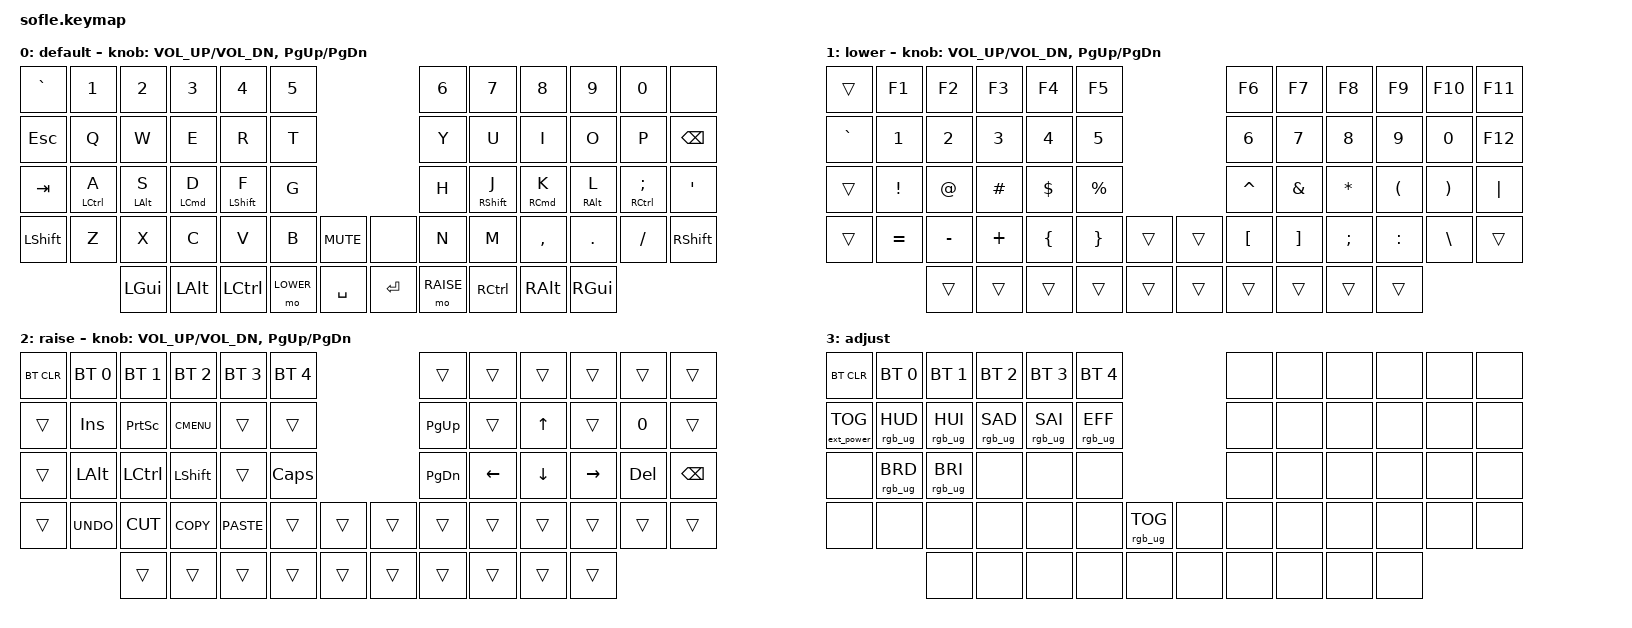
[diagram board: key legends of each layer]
/*
 * Copyright (c) 2020 The ZMK Contributors
 *
 * SPDX-License-Identifier: MIT
 */

#include <behaviors.dtsi>
#include <dt-bindings/zmk/bt.h>
#include <dt-bindings/zmk/ext_power.h>
#include <dt-bindings/zmk/keys.h>
#include <dt-bindings/zmk/rgb.h>

#define BASE 0
#define LOWER 1
#define RAISE 2
#define ADJUST 3

/ {
    // Activate ADJUST layer by pressing raise and lower

    conditional_layers {
        compatible = "zmk,conditional-layers";

        adjust_layer {
            if-layers = <LOWER RAISE>;
            then-layer = <ADJUST>;
        };
    };

    behaviors {
        HM: HM {
            compatible = "zmk,behavior-hold-tap";
            label = "HM";
            bindings = <&kp>, <&kp>;

            #binding-cells = <2>;
            tapping-term-ms = <200>;
            quick-tap-ms = <175>;
            flavor = "tap-preferred";
            hold-trigger-key-positions = <0 1 2 3 4 5 14 15 16 17 12 13 24 25 26 27 28 29 36 37 38 39 40 41 42 50 51 52 53 54>;
        };

        HMShiftR: HMShiftR {
            compatible = "zmk,behavior-hold-tap";
            label = "HMSHIFTR";
            bindings = <&kp>, <&kp>;

            #binding-cells = <2>;
            tapping-term-ms = <200>;
            hold-trigger-key-positions = <0 1 2 3 4 5 14 15 16 17 12 13 24 25 26 27 28 29 36 37 38 39 40 41 42 50 51 52 53 54>;
            hold-while-undecided;
            hold-trigger-on-release;
        };

        HMShiftL: HMShiftL {
            compatible = "zmk,behavior-hold-tap";
            label = "HMSHIFTL";
            bindings = <&kp>, <&kp>;

            #binding-cells = <2>;
            tapping-term-ms = <200>;
            hold-while-undecided;
            hold-trigger-on-release;
            hold-trigger-key-positions = <6 7 8 9 10 11 18 19 20 21 22 23 30 31 32 33 34 35 44 45 46 47 48 49 56 57 58 59 43 55>;
        };

        HMR: HMR {
            compatible = "zmk,behavior-hold-tap";
            label = "HMR";
            bindings = <&kp>, <&kp>;

            #binding-cells = <2>;
            tapping-term-ms = <200>;
            flavor = "tap-preferred";
            hold-trigger-key-positions = <0 1 2 3 4 5 14 15 16 17 12 13 24 25 26 27 28 29 36 37 38 39 40 41 42 50 51 52 53 54>;
            hold-while-undecided;
            hold-trigger-on-release;
        };

        HML: HML {
            compatible = "zmk,behavior-hold-tap";
            label = "HML";
            bindings = <&kp>, <&kp>;

            #binding-cells = <2>;
            tapping-term-ms = <200>;
            flavor = "tap-preferred";
            hold-while-undecided;
            hold-trigger-on-release;
            hold-trigger-key-positions = <6 7 8 9 10 11 18 19 20 21 22 23 30 31 32 33 34 35 44 45 46 47 48 49 57 58 59 56 55 43>;
        };
    };

    keymap {
        compatible = "zmk,keymap";

        default_layer {
            display-name = "default";

            // ------------------------------------------------------------------------------------------------------------
            // |   `   |  1  |  2  |  3   |  4   |  5   |                   |  6   |  7    |  8    |  9   |   0   |       |
            // |  ESC  |  Q  |  W  |  E   |  R   |  T   |                   |  Y   |  U    |  I    |  O   |   P   | BKSPC |
            // |  TAB  |  A  |  S  |  D   |  F   |  G   |                   |  H   |  J    |  K    |  L   |   ;   |   '   |
            // | SHIFT |  Z  |  X  |  C   |  V   |  B   |  MUTE  |  |       |  N   |  M    |  ,    |  .   |   /   | SHIFT |
            //               | GUI | ALT  | CTRL | LOWER|  ENTER |  | SPACE | RAISE| CTRL  | ALT   | GUI  |

            bindings = <
&kp GRAVE  &kp N1        &kp N2       &kp N3       &kp N4             &kp N5                              &kp N6     &kp N7             &kp N8       &kp N9       &kp N0           &none
&kp ESC    &kp Q         &kp W        &kp E        &kp R              &kp T                               &kp Y      &kp U              &kp I        &kp O        &kp P            &kp BSPC
&kp TAB    &HML LCTRL A  &HML LALT S  &HML LCMD D  &HMShiftL LSHFT F  &kp G                               &kp H      &HMShiftR RSHFT J  &HMR RCMD K  &HMR RALT L  &HMR RCTRL SEMI  &kp SQT
&kp LSHFT  &kp Z         &kp X        &kp C        &kp V              &kp B      &kp C_MUTE    &none      &kp N      &kp M              &kp COMMA    &kp DOT      &kp FSLH         &kp RSHFT
                         &kp LGUI     &kp LALT     &kp LCTRL          &mo LOWER  &kp SPACE     &kp ENTER  &mo RAISE  &kp RCTRL          &kp RALT     &kp RGUI
            >;

            sensor-bindings = <&inc_dec_kp C_VOL_UP C_VOL_DN &inc_dec_kp PG_UP PG_DN>;
        };

        lower_layer {
            display-name = "lower";

            // TODO: Some binds are waiting for shifted keycode support.
            // ------------------------------------------------------------------------------------------------------------
            // |       |  F1 |  F2 |  F3  |  F4  |  F5  |                   |  F6  |  F7   |  F8   |  F9  |  F10  |  F11  |
            // |   `   |  1  |  2  |  3   |  4   |  5   |                   |  6   |  7    |  8    |  9   |   0   |  F12  |
            // |       |  !  |  @  |  #   |  $   |  %   |                   |  ^   |  &    |  *    |  (   |   )   |   |   |
            // |       |  =  |  -  |  +   |  {   |  }   |        |  |       |  [   |  ]    |  ;    |  :   |   \   |       |
            //               |     |      |      |      |        |  |       |      |       |       |      |

            bindings = <
&trans     &kp F1     &kp F2     &kp F3    &kp F4    &kp F5                       &kp F6     &kp F7    &kp F8     &kp F9     &kp F10   &kp F11
&kp GRAVE  &kp N1     &kp N2     &kp N3    &kp N4    &kp N5                       &kp N6     &kp N7    &kp N8     &kp N9     &kp N0    &kp F12
&trans     &kp EXCL   &kp AT     &kp HASH  &kp DLLR  &kp PRCNT                    &kp CARET  &kp AMPS  &kp ASTRK  &kp LPAR   &kp RPAR  &kp PIPE
&trans     &kp EQUAL  &kp MINUS  &kp PLUS  &kp LBRC  &kp RBRC   &trans    &trans  &kp LBKT   &kp RBKT  &kp SEMI   &kp COLON  &kp BSLH  &trans
                      &trans     &trans    &trans    &trans     &trans    &trans  &trans     &trans    &trans     &trans
            >;

            sensor-bindings = <&inc_dec_kp C_VOL_UP C_VOL_DN &inc_dec_kp PG_UP PG_DN>;
        };

        raise_layer {
            display-name = "raise";

            // ------------------------------------------------------------------------------------------------------------
            // | BTCLR | BT1  | BT2  |  BT3  |  BT4  |  BT5 |                |      |      |       |      |       |       |
            // |       | INS  | PSCR | GUI   |       |      |                | PGUP |      |   ^   |      |       |       |
            // |       | ALT  | CTRL | SHIFT |       | CAPS |                | PGDN |   <- |   v   |  ->  |  DEL  | BKSPC |
            // |       | UNDO | CUT  | COPY  | PASTE |      |      |  |      |      |      |       |      |       |       |
            //                |      |       |       |      |      |  |      |      |      |       |      |

            bindings = <
&bt BT_CLR  &bt BT_SEL 0  &bt BT_SEL 1  &bt BT_SEL 2  &bt BT_SEL 3  &bt BT_SEL 4                    &trans     &trans    &trans    &trans     &trans   &trans
&trans      &kp INS       &kp PSCRN     &kp K_CMENU   &trans        &trans                          &kp PG_UP  &trans    &kp UP    &trans     &kp N0   &trans
&trans      &kp LALT      &kp LCTRL     &kp LSHFT     &trans        &kp CLCK                        &kp PG_DN  &kp LEFT  &kp DOWN  &kp RIGHT  &kp DEL  &kp BSPC
&trans      &kp K_UNDO    &kp K_CUT     &kp K_COPY    &kp K_PASTE   &trans        &trans    &trans  &trans     &trans    &trans    &trans     &trans   &trans
                          &trans        &trans        &trans        &trans        &trans    &trans  &trans     &trans    &trans    &trans
            >;

            sensor-bindings = <&inc_dec_kp C_VOL_UP C_VOL_DN &inc_dec_kp PG_UP PG_DN>;
        };

        adjust_layer {
            // ----------------------------------------------------------------------------------------------------------------------------
            // | BTCLR  |  BT1    |  BT2    |   BT3   |   BT4   |   BT5   |                  |      |      |       |      |       |       |
            // | EXTPWR | RGB_HUD | RGB_HUI | RGB_SAD | RGB_SAI | RGB_EFF |                  |      |      |       |      |       |       |
            // |        | RGB_BRD | RGB_BRI |         |         |         |                  |      |      |       |      |       |       |
            // |        |         |         |         |         |         | RGB_TOG | |      |      |      |       |      |       |       |
            //                    |         |         |         |         |         | |      |      |      |       |      |

            display-name = "adjust";
            bindings = <
&bt BT_CLR         &bt BT_SEL 0     &bt BT_SEL 1     &bt BT_SEL 2     &bt BT_SEL 3     &bt BT_SEL 4                               &none  &none  &none  &none  &none  &none
&ext_power EP_TOG  &rgb_ug RGB_HUD  &rgb_ug RGB_HUI  &rgb_ug RGB_SAD  &rgb_ug RGB_SAI  &rgb_ug RGB_EFF                            &none  &none  &none  &none  &none  &none
&none              &rgb_ug RGB_BRD  &rgb_ug RGB_BRI  &none            &none            &none                                      &none  &none  &none  &none  &none  &none
&none              &none            &none            &none            &none            &none            &rgb_ug RGB_TOG    &none  &none  &none  &none  &none  &none  &none
                                    &none            &none            &none            &none            &none              &none  &none  &none  &none  &none
            >;
        };
    };
};
